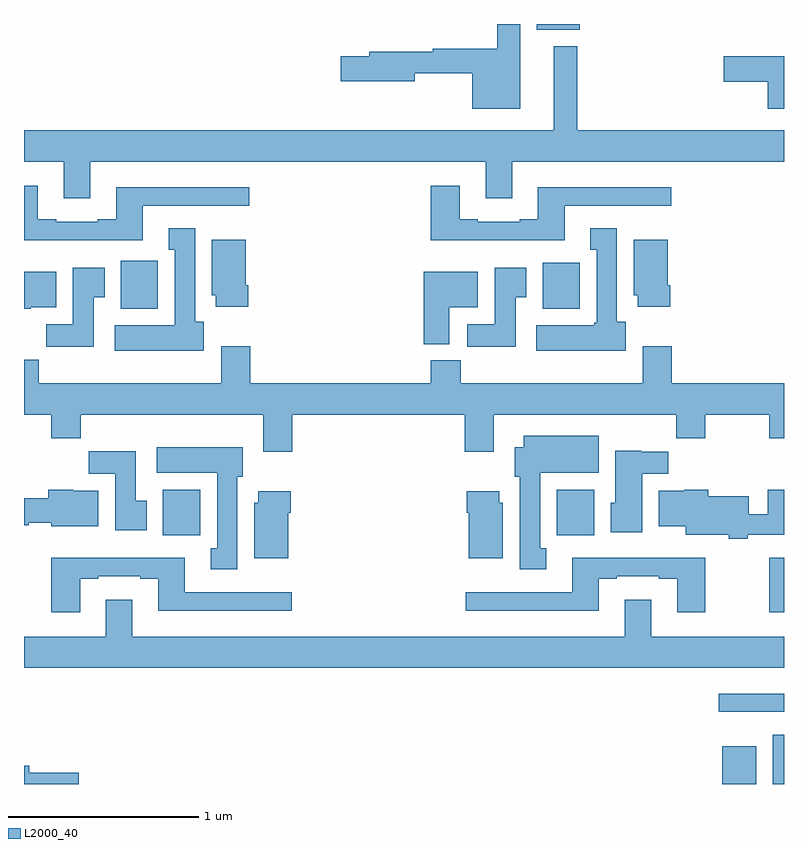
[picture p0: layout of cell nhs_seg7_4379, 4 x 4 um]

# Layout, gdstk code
import gdstk
lib = gdstk.Library(unit=1e-6, precision=1e-09)
def R(c, l, rs):  # rectangles x0, y0, x1, y1
    for r in rs: c.add(gdstk.rectangle(r[:2], r[2:], *l))
def P(c, l, *ps):  # polygons
    for p in ps: c.add(gdstk.Polygon(p, *l))
L2000_40 = (2000, 40)

nhs_seg7_4379 = lib.new_cell('nhs_seg7_4379')
R(nhs_seg7_4379, L2000_40, [(390.674,1004,390.853,1004.2), (390.941,1004,391,1004.26), (390.657,1004.379,391,1004.476), (390.922,1004.904,391,1005.19), (387.731,1005.308,387.928,1005.55), (389.804,1005.308,390.001,1005.55), (387.509,1006.502,387.705,1006.753), (389.729,1006.502,389.926,1006.744), (389.699,1007.969,389.926,1008)])
P(nhs_seg7_4379, L2000_40, [(389.611,1008),(389.492,1008),(389.492,1007.87),(389.152,1007.87),(389.152,1007.855),(388.817,1007.855),(388.817,1007.829),(388.668,1007.829),(388.668,1007.699),(389.056,1007.699),(389.056,1007.742),(389.36,1007.742),(389.36,1007.555),(389.611,1007.555)],
  [(387.349,1007.276),(389.429,1007.276),(389.429,1007.082),(389.569,1007.082),(389.569,1007.276),(391,1007.276),(391,1007.44),(389.911,1007.44),(389.911,1007.884),(389.789,1007.884),(389.789,1007.44),(387,1007.44),(387,1007.276),(387.209,1007.276),(387.209,1007.082),(387.349,1007.082)],
  [(391,1007.831),(390.684,1007.831),(390.684,1007.696),(390.914,1007.696),(390.914,1007.555),(391,1007.555)],
  [(389.845,1007.043),(390.406,1007.043),(390.406,1007.14),(389.705,1007.14),(389.705,1006.972),(389.609,1006.972),(389.609,1006.959),(389.389,1006.959),(389.389,1006.972),(389.293,1006.972),(389.293,1007.149),(389.141,1007.149),(389.141,1006.862),(389.845,1006.862)],
  [(387.625,1007.043),(388.186,1007.043),(388.186,1007.14),(387.485,1007.14),(387.485,1006.972),(387.389,1006.972),(387.389,1006.959),(387.169,1006.959),(387.169,1006.972),(387.073,1006.972),(387.073,1007.149),(387,1007.149),(387,1006.862),(387.625,1006.862)],
  [(387.946,1006.434),(387.901,1006.434),(387.901,1006.924),(387.761,1006.924),(387.761,1006.811),(387.794,1006.811),(387.794,1006.414),(387.477,1006.414),(387.477,1006.28),(387.946,1006.28)],
  [(390.166,1006.434),(390.121,1006.434),(390.121,1006.924),(389.981,1006.924),(389.981,1006.811),(390.014,1006.811),(390.014,1006.428),(390.001,1006.428),(390.001,1006.414),(389.697,1006.414),(389.697,1006.28),(390.166,1006.28)],
  [(388.181,1006.624),(388.168,1006.624),(388.168,1006.864),(387.989,1006.864),(387.989,1006.572),(388.01,1006.572),(388.01,1006.512),(388.181,1006.512)],
  [(390.401,1006.624),(390.388,1006.624),(390.388,1006.864),(390.209,1006.864),(390.209,1006.572),(390.23,1006.572),(390.23,1006.512),(390.401,1006.512)],
  [(389.587,1006.561),(389.644,1006.561),(389.644,1006.717),(389.477,1006.717),(389.477,1006.42),(389.334,1006.42),(389.334,1006.302),(389.587,1006.302)],
  [(387.367,1006.561),(387.424,1006.561),(387.424,1006.717),(387.257,1006.717),(387.257,1006.42),(387.118,1006.42),(387.118,1006.302),(387.367,1006.302)],
  [(389.239,1006.508),(389.389,1006.508),(389.389,1006.696),(389.105,1006.696),(389.105,1006.314),(389.239,1006.314)],
  [(387.036,1006.508),(387.169,1006.508),(387.169,1006.696),(387,1006.696),(387,1006.502),(387.036,1006.502)],
  [(388.412,1005.944),(389.321,1005.944),(389.321,1005.75),(389.473,1005.75),(389.473,1005.944),(390.433,1005.944),(390.433,1005.82),(390.585,1005.82),(390.585,1005.944),(390.922,1005.944),(390.922,1005.82),(391,1005.82),(391,1006.108),(390.41,1006.108),(390.41,1006.303),(390.257,1006.303),(390.257,1006.108),(389.298,1006.108),(389.298,1006.229),(389.141,1006.229),(389.141,1006.108),(388.19,1006.108),(388.19,1006.303),(388.037,1006.303),(388.037,1006.108),(387.077,1006.108),(387.077,1006.232),(387,1006.232),(387,1005.944),(387.143,1005.944),(387.143,1005.82),(387.299,1005.82),(387.299,1005.944),(388.259,1005.944),(388.259,1005.75),(388.412,1005.75)],
  [(389.749,1005.242),(389.716,1005.242),(389.716,1005.638),(390.025,1005.638),(390.025,1005.832),(389.63,1005.832),(389.63,1005.772),(389.582,1005.772),(389.582,1005.618),(389.609,1005.618),(389.609,1005.129),(389.749,1005.129)],
  [(388.123,1005.618),(388.15,1005.618),(388.15,1005.772),(387.699,1005.772),(387.699,1005.638),(388.016,1005.638),(388.016,1005.242),(387.983,1005.242),(387.983,1005.129),(388.123,1005.129)],
  [(390.253,1005.632),(390.392,1005.632),(390.392,1005.75),(390.249,1005.75),(390.249,1005.754),(390.113,1005.754),(390.113,1005.48),(390.089,1005.48),(390.089,1005.326),(390.253,1005.326)],
  [(387.646,1005.492),(387.589,1005.492),(387.589,1005.751),(387.34,1005.751),(387.34,1005.632),(387.479,1005.632),(387.479,1005.336),(387.646,1005.336)],
  [(390.81,1005.312),(391,1005.312),(391,1005.55),(390.914,1005.55),(390.914,1005.421),(390.814,1005.421),(390.814,1005.514),(390.6,1005.514),(390.6,1005.55),(390.474,1005.55),(390.474,1005.544),(390.341,1005.544),(390.341,1005.356),(390.482,1005.356),(390.482,1005.311),(390.71,1005.311),(390.71,1005.292),(390.81,1005.292)],
  [(387.391,1005.544),(387.258,1005.544),(387.258,1005.55),(387.128,1005.55),(387.128,1005.504),(387,1005.504),(387,1005.362),(387.024,1005.362),(387.024,1005.374),(387.144,1005.374),(387.144,1005.356),(387.391,1005.356)],
  [(389.521,1005.48),(389.5,1005.48),(389.5,1005.541),(389.33,1005.541),(389.33,1005.428),(389.342,1005.428),(389.342,1005.188),(389.521,1005.188)],
  [(388.39,1005.428),(388.403,1005.428),(388.403,1005.541),(388.232,1005.541),(388.232,1005.48),(388.211,1005.48),(388.211,1005.188),(388.39,1005.188)],
  [(390.585,1005.19),(389.885,1005.19),(389.885,1005.009),(389.325,1005.009),(389.325,1004.912),(390.025,1004.912),(390.025,1005.081),(390.121,1005.081),(390.121,1005.093),(390.341,1005.093),(390.341,1005.081),(390.437,1005.081),(390.437,1004.904),(390.585,1004.904)],
  [(387.295,1005.081),(387.391,1005.081),(387.391,1005.093),(387.611,1005.093),(387.611,1005.081),(387.707,1005.081),(387.707,1004.912),(388.408,1004.912),(388.408,1005.009),(387.847,1005.009),(387.847,1005.19),(387.143,1005.19),(387.143,1004.904),(387.295,1004.904)],
  [(391,1004.776),(390.301,1004.776),(390.301,1004.971),(390.161,1004.971),(390.161,1004.776),(387.571,1004.776),(387.571,1004.971),(387.431,1004.971),(387.431,1004.776),(387,1004.776),(387,1004.612),(391,1004.612)],
  [(387.289,1004.06),(387.028,1004.06),(387.028,1004.096),(387,1004.096),(387,1004),(387.289,1004)])

lib.write_gds('nhs_seg7_4379.gds')
